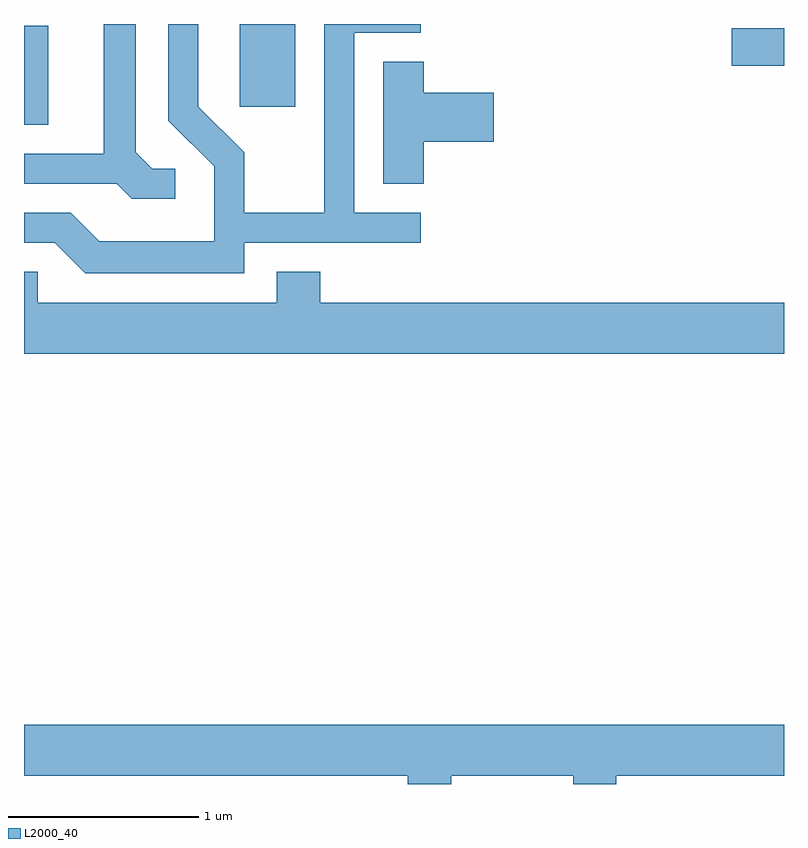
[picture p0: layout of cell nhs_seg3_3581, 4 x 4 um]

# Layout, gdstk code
import gdstk
lib = gdstk.Library(unit=1e-6, precision=1e-09)
def R(c, l, rs):  # rectangles x0, y0, x1, y1
    for r in rs: c.add(gdstk.rectangle(r[:2], r[2:], *l))
def P(c, l, *ps):  # polygons
    for p in ps: c.add(gdstk.Polygon(p, *l))
L2000_40 = (2000, 40)

nhs_seg3_3581 = lib.new_cell('nhs_seg3_3581')
R(nhs_seg3_3581, L2000_40, [(289.611,1209.361,289.739,1209.884), (290.746,1209.456,291.039,1209.892), (293.336,1209.671,293.611,1209.869)])
P(nhs_seg3_3581, L2000_40, [(290.769,1208.741),(291.698,1208.741),(291.698,1208.899),(291.349,1208.899),(291.349,1209.846),(291.698,1209.846),(291.698,1209.892),(291.191,1209.892),(291.191,1208.899),(290.769,1208.899),(290.769,1209.217),(290.529,1209.457),(290.529,1209.892),(290.371,1209.892),(290.371,1209.384),(290.611,1209.144),(290.611,1208.749),(290.007,1208.749),(289.857,1208.899),(289.611,1208.899),(289.611,1208.741),(289.774,1208.741),(289.934,1208.581),(290.769,1208.581)],
  [(290.408,1209.129),(290.287,1209.129),(290.199,1209.217),(290.199,1209.892),(290.031,1209.892),(290.031,1209.209),(289.611,1209.209),(289.611,1209.051),(290.099,1209.051),(290.179,1208.971),(290.408,1208.971)],
  [(291.714,1209.271),(292.084,1209.271),(292.084,1209.529),(291.714,1209.529),(291.714,1209.694),(291.501,1209.694),(291.501,1209.051),(291.714,1209.051)],
  [(293.611,1208.424),(291.169,1208.424),(291.169,1208.589),(290.941,1208.589),(290.941,1208.424),(289.684,1208.424),(289.684,1208.589),(289.611,1208.589),(289.611,1208.156),(293.611,1208.156)],
  [(291.859,1205.936),(292.501,1205.936),(292.501,1205.892),(292.729,1205.892),(292.729,1205.936),(293.611,1205.936),(293.611,1206.204),(289.611,1206.204),(289.611,1205.936),(291.631,1205.936),(291.631,1205.892),(291.859,1205.892)])

lib.write_gds('nhs_seg3_3581.gds')
